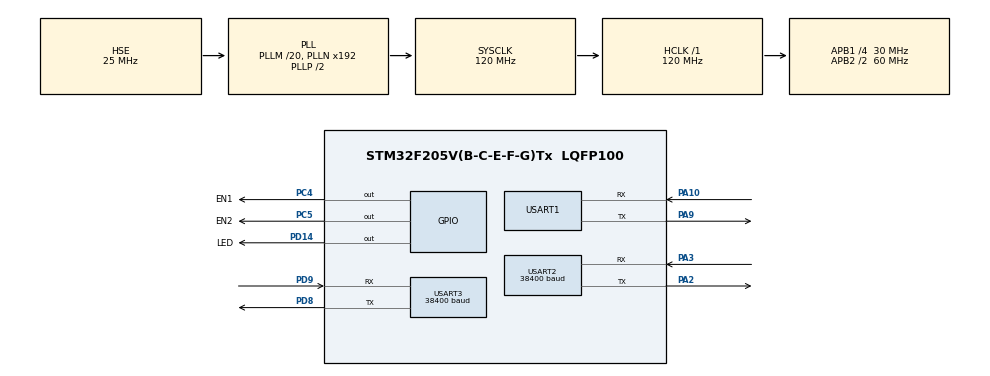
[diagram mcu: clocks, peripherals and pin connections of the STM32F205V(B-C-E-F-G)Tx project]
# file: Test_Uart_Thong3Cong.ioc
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Mcu.Family=STM32F2
Mcu.Name=STM32F205V(B-C-E-F-G)Tx
Mcu.Package=LQFP100
NVIC.PriorityGroup=NVIC_PRIORITYGROUP_4
NVIC.USART1_IRQn=true\:0\:0\:false\:false\:true\:true\:true\:true
NVIC.USART2_IRQn=true\:0\:0\:false\:false\:true\:true\:true\:true
NVIC.USART3_IRQn=true\:0\:0\:false\:false\:true\:true\:true\:true
PA10.Mode=Asynchronous
PA10.Signal=USART1_RX
PA13.Mode=Serial_Wire
PA13.Signal=SYS_JTMS-SWDIO
PA14.Mode=Serial_Wire
PA14.Signal=SYS_JTCK-SWCLK
PA2.Mode=Asynchronous
PA2.Signal=USART2_TX
PA3.Mode=Asynchronous
PA3.Signal=USART2_RX
PA9.Mode=Asynchronous
PA9.Signal=USART1_TX
PC4.GPIO_Label=EN1
PC4.GPIO_PuPd=GPIO_PULLDOWN
PC4.Signal=GPIO_Output
PC5.GPIO_Label=EN2
PC5.GPIO_PuPd=GPIO_PULLUP
PC5.Signal=GPIO_Output
PD14.GPIO_Label=LED
PD14.Signal=GPIO_Output
PD8.Mode=Asynchronous
PD8.Signal=USART3_TX
PD9.Mode=Asynchronous
PD9.Signal=USART3_RX
PH0-OSC_IN.Mode=HSE-External-Oscillator
PH0-OSC_IN.Signal=RCC_OSC_IN
PH1-OSC_OUT.Mode=HSE-External-Oscillator
PH1-OSC_OUT.Signal=RCC_OSC_OUT
ProjectManager.HeapSize=0x200
ProjectManager.StackSize=0x400
ProjectManager.TargetToolchain=STM32CubeIDE
RCC.48MHZClocksFreq_Value=60000000
RCC.AHBFreq_Value=120000000
RCC.APB1CLKDivider=RCC_HCLK_DIV4
RCC.APB1Freq_Value=30000000
RCC.APB1TimFreq_Value=60000000
RCC.APB2CLKDivider=RCC_HCLK_DIV2
RCC.APB2Freq_Value=60000000
RCC.APB2TimFreq_Value=120000000
RCC.CortexFreq_Value=120000000
RCC.HCLKFreq_Value=120000000
RCC.HSE_VALUE=25000000
RCC.HSI_VALUE=16000000
RCC.LSE_VALUE=32768
RCC.PLLM=20
RCC.PLLSourceVirtual=RCC_PLLSOURCE_HSE
RCC.SYSCLKFreq_VALUE=120000000
RCC.SYSCLKSource=RCC_SYSCLKSOURCE_PLLCLK
RCC.VCOOutputFreq_Value=240000000
USART1.VirtualMode=VM_ASYNC
USART2.BaudRate=38400
USART2.VirtualMode=VM_ASYNC
USART3.BaudRate=38400
USART3.VirtualMode=VM_ASYNC
board=custom

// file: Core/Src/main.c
/* USER CODE BEGIN Header */
/**
  ******************************************************************************
  * @file           : main.c
  * @brief          : Main program body
  ******************************************************************************
  * @attention
  *
  * Copyright (c) 2024 STMicroelectronics.
  * All rights reserved.
  *
  * This software is licensed under terms that can be found in the LICENSE file
  * in the root directory of this software component.
  * If no LICENSE file comes with this software, it is provided AS-IS.
  *
  ******************************************************************************
  */
/* USER CODE END Header */
#include "main.h"

/* USER CODE BEGIN Includes */
#include "stdio.h"
#include "string.h"
#include "stdbool.h"
#include "flash.h"
/* USER CODE END Includes */

/* USER CODE BEGIN PD */
#define FLASH_SECTOR_ADDRESS1 ADDR_FLASH_SECTOR_1	/* Base @ of Sector 0, 16 Kbytes */
#define FLASH_SECTOR_ADDRESS2 ADDR_FLASH_SECTOR_2	/* Base @ of Sector 1, 16 Kbytes */
#define FLASH_SECTOR_ADDRESS3 ADDR_FLASH_SECTOR_3	/* Base @ of Sector 2, 16 Kbytes */
#define FLASH_SECTOR_ADDRESS4 ADDR_FLASH_SECTOR_4	/* Base @ of Sector 3, 16 Kbytes */
#define FLASH_SECTOR_ADDRESS5 ADDR_FLASH_SECTOR_5	/* Base @ of Sector 4, 64 Kbytes */
#define FLASH_SECTOR_ADDRESS6 ADDR_FLASH_SECTOR_6	/* Base @ of Sector 5, 128 Kbytes */
#define FLASH_SECTOR_ADDRESS7 ADDR_FLASH_SECTOR_7	/* Base @ of Sector 6, 128 Kbytes */
#define FLASH_SECTOR_ADDRESS8 ADDR_FLASH_SECTOR_8	/* Base @ of Sector 7, 128 Kbytes */
#define FLASH_SECTOR_ADDRESS9 ADDR_FLASH_SECTOR_9	/* Base @ of Sector 8, 128 Kbytes */
#define FLASH_SECTOR_ADDRESS10 ADDR_FLASH_SECTOR_10	/* Base @ of Sector 9, 128 Kbytes */
#define FLASH_SECTOR_ADDRESS11 ADDR_FLASH_SECTOR_11	/* Base @ of Sector 10, 128 Kbytes */
#define FLASH_SECTOR_ADDRESS12 ADDR_FLASH_SECTOR_12	/* Base @ of Sector 11, 128 Kbytes */
/* USER CODE END PD */

UART_HandleTypeDef huart1;
UART_HandleTypeDef huart2;
UART_HandleTypeDef huart3;

void SystemClock_Config(void);
static void MX_GPIO_Init(void);
static void MX_USART1_UART_Init(void);
static void MX_USART2_UART_Init(void);
static void MX_USART3_UART_Init(void);
/* USER CODE BEGIN PFP */
void HAL_UARTEx_RxEventCallback(UART_HandleTypeDef *huart, uint16_t Size);
void HAL_UART_TxCpltCallback(UART_HandleTypeDef *huart);
void wait_res_init(uint32_t timeout_wait_);
void WriteBufferToFlash(uint8_t* buffer, uint32_t length);
void ReadAndPrintFlashData(uint32_t flash_address, uint32_t length);
void ReadAndPrintFirst4096Bytes(uint32_t flash_address);
void save_data_to_flash(uint8_t* data, uint32_t length);
void Write_Byte(uint8_t* buffer, uint32_t length);
void PrintTempBufferData();

#ifdef __GNUC__
#define PUTCHAR_PROTOTYPE int __io_putchar (int ch)
#else
#define PUTCHAR_PROTOTYPE int fputc (int ch, FILE *f)
#endif

PUTCHAR_PROTOTYPE
{
HAL_UART_Transmit(&huart1,(uint8_t *)&ch,1,0xFFFF);

return ch;
}
/* USER CODE END PFP */

/* USER CODE BEGIN 0 */
#define BUFFER_SIZE 4096
#define MAX_BUFFER_CMD_ESP 10000
#define WAIT_TIME_MS 20
#define RESET_TIME_MS 30000  // 30s
#define RX5_BUFF_SIZE   20

#define CHUNK_SIZE 4096
#define READ_CHUNK_SIZE 4096  // Kích thước khối đọc mỗi lần, 4096 byte

#define MAX_TEMP_BUFFER_SIZE 1024 * 50  // Kích thước buffer tạm thời lớn nhất, ví dụ cho 50 gói 4096 byte

#define BLOCK_SIZE 1024

uint8_t temp_buffer[MAX_TEMP_BUFFER_SIZE];
uint32_t temp_buffer_index = 0;
uint32_t last_flash_write_time = 0;
uint32_t flash_sector_address = FLASH_SECTOR_ADDRESS5;  // Địa chỉ sector flash để ghi

uint8_t USER_RX_Buffer[RX5_BUFF_SIZE];

uint8_t ui8_status_esp =0U;
uint32_t ui32_timerxset =0;

uint8_t uart2_data_ready = 0;
uint32_t uart2_start_time = 0;
uint8_t uart2_data[BUFFER_SIZE];
uint32_t last_packet_time = 0;
int packetCount = 0;  // Biến đếm gói toàn cục

uint8_t resetFlag = 0;  // Biến co để ghi nhớ việc reset

// Thêm biến toàn cục để lưu tổng số gói và tổng số byte đã nhận
uint32_t total_packets = 0;
uint32_t total_bytes = 0;

typedef struct{
	uint8_t ui8_RX_buf[2];
	uint8_t ui8_str[MAX_BUFFER_CMD_ESP];
	uint8_t ui8_busy;
	uint8_t ui8_newinchar;
	uint8_t ui8_RX;
	uint8_t ui8_indexUart;
	uint8_t ui8_newpagkage;
	uint8_t ui8_newcmd;
	uint32_t CountTX;
	uint8_t count;

	uint8_t ui8_rx2Data[BUFFER_SIZE];
	uint8_t ui8_rx3Data[BUFFER_SIZE];

	uint8_t ui8_tx2Data[BUFFER_SIZE];
	uint8_t ui8_tx3Data[BUFFER_SIZE];

	uint8_t ui8_indexUart2;
	uint8_t ui8_indexUart3;

	uint32_t ui32_timer;
	uint32_t ui32_startTick;
	uint32_t ui32_CountTX;

	int uart2_processingData;
	int uart3_processingData;
	int uart2_receivedData;
	int uart3_receivedData;

	uint16_t ui16_tx2Size;
	uint16_t ui16_tx3Size;

	uint16_t ui16_countIT2;
	uint16_t ui16_countIT3;

	uint16_t ui16_count2;
	uint16_t ui16_count3;

	uint16_t ui16_countTX2;
	uint16_t ui16_countTX3;

	uint16_t ui16_data2Size;
	uint16_t ui16_data3Size;

}xulyuart_typedef;

xulyuart_typedef xulyUart = {
		.CountTX = 0,
		.ui8_indexUart = 0,
		.ui32_timer = 0,

		.ui8_indexUart2 = 0,
		.ui8_indexUart3 = 0,

		.uart2_processingData = 0,
		.uart2_receivedData = 0,
		.uart3_processingData = 0,
		.uart3_receivedData = 0,

		.ui32_CountTX = 0,

		.ui16_countIT2 = 0,
		.ui16_countIT3 = 0,

		.ui16_count2 = 0,
		.ui16_count3 = 0,

		.ui16_countTX2 = 0,
		.ui16_countTX3 = 0,

		.ui16_data2Size = 0,
		.ui16_data3Size = 0
};

#if 1
//void ProcessUart2Data(uint8_t* data, uint16_t size) {
//    // Kiểm tra nếu kích thước là chính xác 4096 byte
//    if (size <= CHUNK_SIZE) {
//
//        // Nếu kích thước là 6 byte, reset packetCount và đặt c�? reset
//        if (size == 6) {
//            packetCount = -1;  // �?ặt packetCount là -1 để lần g�?i tiếp theo sẽ tăng lên 0
//            resetFlag = 1;
//            printf("Reset packet count due to size 6.\n");
//        } else {
//            // Nếu c�? reset được đặt, đặt packetCount là 0 và tắt c�? reset
//            if (resetFlag) {
//                packetCount = 0;
//                resetFlag = 0;
//            } else {
//                packetCount++;
//            }
//            printf("Packet %d = %d \n", packetCount, size);
//        }
//
//        last_packet_time = HAL_GetTick();  // Cập nhật th�?i gian nhận gói cuối cùng
//    }
//}

#if 0
void ProcessUart2Data(uint8_t* data, uint16_t size) {
    // Kiểm tra nếu kích thước là chính xác 4096 byte
    if (size <= CHUNK_SIZE) {
        // Nếu kích thước là 6 byte, reset packetCount và đặt cờ reset
        if (size == 6) {
            packetCount = 0;  // Đặt packetCount là 0 để bắt đầu lại từ gói 0
            resetFlag = 1;    // Đặt cờ để cho phép in các gói tiếp theo
        } else if (resetFlag) {
            // Nếu cờ reset được đặt, in ra gói và tăng packetCount
            printf("Packet %d = %d \n", packetCount, size);

            uint32_t time1;
            uint32_t time2;

            if (temp_buffer_index + size <= MAX_TEMP_BUFFER_SIZE) {
                memcpy(&temp_buffer[temp_buffer_index], data, size);
                int num_of_words = (size / 4) + ((size % 4) != 0);

                time1 = HAL_GetTick();
                Flash_Write_Data(flash_sector_address, (uint32_t *)temp_buffer, num_of_words);
                time2 = HAL_GetTick();

                time2 -= time1;
                printf("\n Write addr = %lu, size = %d, time = %lu\n", flash_sector_address , num_of_words, time2);

                temp_buffer_index += size;
                flash_sector_address += size;  // Cập nhật địa chỉ sector flash
            }

            packetCount++;
            total_packets++;
            total_bytes += size;

            // Reset chỉ số buffer tạm sau khi ghi
            if (packetCount % 1 == 0) {
                temp_buffer_index = 0;  // Reset chỉ số buffer tạm
            }
        }

        last_packet_time = HAL_GetTick();  // Cập nhật thời gian nhận gói cuối cùng
    }
}
#endif

void ProcessUart2Data(uint8_t* data, uint16_t size) {
	uint32_t time1;
	uint32_t time2;

	uint32_t timer1;
	uint32_t timer2;
	uint16_t lentosend;
	uint32_t totaltam =0;
	uint16_t len_tam;
	int num_of_words;
	int numofwords;

    // Kiểm tra nếu kích thước là chính xác 4096 byte hoặc nhỏ hơn
    if (size <= CHUNK_SIZE) {
        // Nếu kích thước là 6 byte, reset packetCount và đặt cờ reset
        if (size == 6) {
            packetCount = 0;  // Đặt packetCount là 0 để bắt đầu lại từ gói 0
            resetFlag = 1;    // Đặt cờ để cho phép nhận các gói tiếp theo
//            printf("Reset packet count due to size 6.\n");
        } else if (resetFlag) {
            // Nếu cờ reset được đặt, in ra gói và tăng packetCount
        	len_tam = size;
            printf("Packet %d = %d\n", packetCount, size);
//            if (temp_buffer_index + size <= MAX_TEMP_BUFFER_SIZE) {
//                memcpy(&temp_buffer[temp_buffer_index], data, size);
//                temp_buffer_index += size;
//            }

            memcpy(&temp_buffer[temp_buffer_index], data, size);
            temp_buffer_index = size;

            Handle_Uart();
//            Write_Byte(temp_buffer, temp_buffer_index);

#if 0
            uint16_t remaining = size;
            uint8_t* current_data_ptr = temp_buffer;

            while (remaining > 0)
            {
            	lentosend = (remaining >= BLOCK_SIZE) ? BLOCK_SIZE : remaining;
//            	totaltam += lentosend;
            	num_of_words = lentosend;

            	time1 = HAL_GetTick();
            	Flash_Write_byte(flash_sector_address, current_data_ptr, num_of_words);
            	time2 = HAL_GetTick();
            	time2 -= time1;
            	printf("\n Write addr = %lu, size = %d, time = %ld\n", flash_sector_address, num_of_words, time2);
            	flash_sector_address += lentosend;

            	remaining -= lentosend;
            	current_data_ptr += lentosend;
            }
#endif

//Flash_Write_byte
#if 0

//        	flash_sector_address = ADDR_FLASH_SECTOR_5;
//            int num_of_words = (size / 4) + ((size % 4) != 0);

            lentosend = size;
            totaltam += lentosend;
            num_of_words = lentosend;

            time1 = HAL_GetTick();
            Flash_Write_byte(flash_sector_address, (uint8_t *)temp_buffer, num_of_words);
            time2 = HAL_GetTick();
            time2 -= time1;
            printf("\n Write addr = %lu, size = %d, time = %ld\n", flash_sector_address , num_of_words, time2);
            flash_sector_address += lendtosend;

#endif

//Flash_Write_data
#if 0
        	lentosend =size;
        	totaltam+=lentosend;

        	numofwords = (lentosend/4)+((lentosend%4)!=0);
        	timer1 = HAL_GetTick();
        	Flash_Write_Data(flash_sector_address, (uint32_t *)temp_buffer, numofwords);
        	timer2 = HAL_GetTick();
        	timer2 -= timer1;
        	printf("\n Write addr = %lu, size = %d, time = %ld\n", flash_sector_address , numofwords, timer2);
        	flash_sector_address += size;
#endif

            packetCount++;

//            printf("\nDebug flash addr = %lu, size = %d \n", flash_sector_address, size);
            total_packets++;
            total_bytes += size;

//            if(packetCount % 1 == 0)
//            {
//            	temp_buffer_index = 0;  // Reset chỉ số buffer tạm
//            }

            // Reset chỉ số buffer tạm
            temp_buffer_index = 0;

            // Đánh dấu thời gian nhận gói cuối cùng
            last_packet_time = HAL_GetTick();
        }
    }
}

//test luu
//void ProcessUart2Data(uint8_t* data, uint16_t size) {
//    // Kiểm tra nếu kích thước là chính xác 4096 byte
//    if (size <= CHUNK_SIZE) {
//        // Nếu kích thước là 6 byte, reset packetCount và đặt c�? reset
//        if (size == 6) {
//            packetCount = 0;  // �?ặt packetCount là 0 để bắt đầu lại từ gói 0
//            resetFlag = 1;    // �?ặt c�? để cho phép in các gói tiếp theo
////            printf("Reset packet count due to size 6.\n");
//        } else if (resetFlag) {
//            // Nếu c�? reset được đặt, in ra gói và tăng packetCount
//            printf("Packet %d = %d \n", packetCount, size);
//            packetCount++;
//
//            total_packets++;
//            total_bytes += size;
//
//            // Kiểm tra nếu đã nhận đủ 10 gói, ghi buffer vào flash và reset buffer
//            if (packetCount == 1) {
//            	save_data_to_flash(data, size);
//            }
//
//        }
//
//        last_packet_time = HAL_GetTick();  // Cập nhật th�?i gian nhận gói cuối cùng
//    }
//}

#endif

#if 1
void PrintUart3Data(uint8_t* data, uint16_t size)
{
	for (int j = 0; j < size; j++)
	{
		switch (data[j])
		{
		case 0x3c:
			if (data[j+1] == 0x00 && data[j+2] == 0x00 && data[j+3] == 0x0f)
			{
				printf("(Read Data): Mo nap may\n");
			}
			else if(data[j+1] == 0x00 && data[j+2] == 0x03 && data[j+3] == 0x0f)
			{
				printf("(Read Data): Mo nap may (PAPER OUT)\n");
			}
			break;
		case 0x14:
			if (data[j+1] == 0x00 && data[j+2] == 0x00 && data[j+3] == 0x0f)
			{
				printf("(Read Data): Dong nap may\n");
			}
			else if (data[j+1] == 0x00 && data[j+2] == 0x03 && data[j+3] == 0x0f)
			{
				printf("(Read Data): Dong nap may (PAPER OUT)\n");
			}
			break;
		case 0x5c:
			if (data[j+1] == 0x00 && data[j+2] == 0x00 && data[j+3] == 0x0f)
			{
				printf("(Read Data): FEED\n");
			}
			else if (data[j+1] == 0x00 && data[j+2] == 0x03 && data[j+3] == 0x0f)
			{
				printf("(Read Data): FEED (PAPER OUT)\n");
			}
			break;
		case 0x1c:
			if (data[j+1] == 0x00 && data[j+2] == 0x00 && data[j+3] == 0x0f)
			{
				printf("(Read Data): Turn off machine\n");
			}
			else if (data[j+1] == 0x00 && data[j+2] == 0x03 && data[j+3] == 0x0f)
			{
				printf("(Read Data): Turn off machine (PAPER OUT)\n");
			}
			break;
		case 0x5f:
            if (data[j+1] == 0x54 && data[j+2] == 0x4d && data[j+3] == 0x2d && data[j+4] == 0x54 &&
                data[j+5] == 0x38 && data[j+6] == 0x38 && data[j+7] == 0x49 && data[j+8] == 0x49 &&
                data[j+9] == 0x49 && data[j+10] == 0x00)
            {
            	printf("(Read Data): _TM-T88III.\n");
            }
            break;
		default:
			break;
		}
	}
	printf("\n");
}
#endif

void wait_res_init(uint32_t timeout_wait_)
{
	ui32_timerxset = HAL_GetTick() + timeout_wait_;
	ui8_status_esp =1U;

}

void Handle_Uart()
{
	//test
	if(USER_RX_Buffer[0] == 't')
	{
		USER_RX_Buffer[0]=0;
		printf("Test \n");
		fflush(stdout); //  ?ảm bảo đầu ra ngay lập tức
	}

    else if (USER_RX_Buffer[0] == 'x')
    {
        USER_RX_Buffer[0] = 0;
        printf("Bat dau xoa flash\n");
        fflush(stdout); //  ?ảm bảo đầu ra ngay lập tức

        uint32_t start_tick = HAL_GetTick();

        // Xóa các sector của flash
        printf("Erasing sector 5\n");
        Flash_Erase_sector(FLASH_SECTOR_ADDRESS5);

        printf("Erasing sector 6\n");
        Flash_Erase_sector(FLASH_SECTOR_ADDRESS6);

        printf("Erasing sector 7\n");
        Flash_Erase_sector(FLASH_SECTOR_ADDRESS7);

        //neu xoa 3 vung nay se bi dung chuong trình
#if 1
        printf("Erasing sector 8\n");
        Flash_Erase_sector(FLASH_SECTOR_ADDRESS8);

        printf("Erasing sector 9\n");
        Flash_Erase_sector(FLASH_SECTOR_ADDRESS9);

        printf("Erasing sector 10\n");
        Flash_Erase_sector(FLASH_SECTOR_ADDRESS10);

        printf("Erasing sector 11\n");
        Flash_Erase_sector(FLASH_SECTOR_ADDRESS11);
#endif
        uint32_t end_tick = HAL_GetTick();
        printf("Da xoa flash trong %lu ms\r\n", end_tick - start_tick);
        fflush(stdout); //  ?ảm bảo đầu ra ngay lập tức
    }

    else if (USER_RX_Buffer[0] == 'r') // Thêm điều kiện để đọc dữ liệu từ flash
    {
        USER_RX_Buffer[0] = 0;
        printf("Bat dau doc flash\n");
        fflush(stdout); // Đảm bảo đầu ra ngay lập tức

        // Đọc và in ra 4096 byte đầu tiên từ flash
        ReadAndPrintFirst4096Bytes(FLASH_SECTOR_ADDRESS5);
        printf("Da doc flash xong. \n");
    }

    // Kiểm tra nếu ký tự nhận được là 'c'
    else if (USER_RX_Buffer[0] == 'c')
    {
        USER_RX_Buffer[0] = 0;
        printf("Bat dau doc temp_buffer\n");
        fflush(stdout); // Đảm bảo đầu ra ngay lập tức

        // In ra dữ liệu từ temp_buffer
//        ReadAndPrintFirst4096Bytes(FLASH_SECTOR_ADDRESS5);
//        PrintTempBufferData();
    }

    else if (USER_RX_Buffer[0] == 'l')
    {
        USER_RX_Buffer[0] = 0;
        printf("Bat dau doc temp_buffer\n");
        fflush(stdout); // Đảm bảo đầu ra ngay lập tức

        // In ra dữ liệu từ temp_buffer
        test_write_byte();
    }
}

void xuly_command_ESP()
{
	USER_RX_Buffer[0] = xulyUart.ui8_newinchar;
	Handle_Uart();
}

void PrintTempBufferData()
{
    printf("Data in temp_buffer:\n");
    for (uint32_t i = 0; i < 3871; i++) {
        printf("%02x ", temp_buffer[i]);
        if ((i + 1) % 16 == 0) {
            printf("\n");
        }
    }
    printf("\n");
}

void WriteBufferToFlash(uint8_t* buffer, uint32_t length)
{
	uint32_t time1;
	uint32_t time2;
    int num_of_words = (length / 4) + ((length % 4) != 0);
    time1 = HAL_GetTick();
    Flash_Write_Data(flash_sector_address, (uint32_t *)buffer, num_of_words);
    time2 = HAL_GetTick();
    time2 -= time1;
    printf("\n Write addr = %lu, size = %d, time = %lu\n", flash_sector_address , num_of_words, time2);
    flash_sector_address += length;  // Cập nhật địa chỉ sector flash
}

void Write_Byte(uint8_t* buffer, uint32_t length)
{
	uint32_t time1;
	uint32_t time2;

	uint16_t lentosend;
	int num_of_words;

    uint16_t remaining = length;
    uint8_t* current_data_ptr = buffer;

    while (remaining > 0)
    {
    	lentosend = (remaining >= BLOCK_SIZE) ? BLOCK_SIZE : remaining;
//            	totaltam += lentosend;
    	num_of_words = lentosend;

    	time1 = HAL_GetTick();
    	Flash_Write_byte(flash_sector_address, current_data_ptr, num_of_words);
    	time2 = HAL_GetTick();
    	time2 -= time1;
    	printf("\n Write addr = %lu, size = %d, time = %ld\n", flash_sector_address, num_of_words, time2);
    	flash_sector_address += lentosend;

    	remaining -= lentosend;
    	current_data_ptr += lentosend;
    }
}

//void ReadAndPrintFirst4096Bytes(uint32_t flash_address) {
//    uint32_t num_of_words = (4096 / 4) + ((4096 % 4) != 0);
//    uint32_t Rx_Data[num_of_words];
//    uint8_t u[4];
//    int byte_count = 0;
//
//    // Đọc 4096 byte đầu tiên từ flash
//    Flash_Read_Data(flash_address, Rx_Data, num_of_words);
//
//    // In ra dữ liệu đã đọc
//    printf("First 4096 bytes from flash:\n");
//    for (int i = 0; i < num_of_words; i++) {
//        byte_count += 4; // Mỗi lần in ra 4 byte
//
//        convertdata(Rx_Data[i], u);
//        printf("%02x %02x %02x %02x ", u[0], u[1], u[2], u[3]);
//
//        if (byte_count >= 20) {
//            printf("\n"); // Xuống hàng sau mỗi 20 byte
//            byte_count = 0; // Đặt lại biến đếm
//        }
//    }
//    printf("\n"); // Xuống hàng sau khi in hết dữ liệu
//}

void ReadAndPrintFirst4096Bytes(uint32_t flash_address) {
    uint32_t size = 512; // Kích thước dữ liệu cần đọc
    uint32_t Rx_Data[size];
    uint8_t u[4];
    int byte_count = 0;

    // Đọc 4096 byte đầu tiên từ flash
    Flash_Read_Data(flash_address, Rx_Data, size);

    // In ra dữ liệu đã đọc
    printf("First 512 bytes from flash:\n");
    for (int i = 0; i < 512; i++) {
        byte_count += 4; // Mỗi lần in ra 4 byte

        convertdata(Rx_Data[i], u);
        printf("%02x %02x %02x %02x ", u[0], u[1], u[2], u[3]);

        if (byte_count >= 20) {
            printf("\n"); // Xuống hàng sau mỗi 20 byte
            byte_count = 0; // Đặt lại biến đếm
        }
    }
    printf("\n"); // Xuống hàng sau khi in hết dữ liệu
}

void save_data_to_flash(uint8_t* data, uint32_t length)
{
	int byte_count = 0;
    uint32_t Rx_Data[BUFFER_SIZE];
    uint8_t u[4];
    printf("Bat dau luu data vao flash\r\n");

    // Erase flash sector
    printf("Dang xoa sector flash\r\n");
    Flash_Erase_sector(FLASH_SECTOR_ADDRESS5);

    uint32_t num_of_words = (length / 4) + ((length % 4) != 0);

    printf("Dang ghi data vao flash\r\n");
    uint32_t start_tick = HAL_GetTick();
    Flash_Write_Data(FLASH_SECTOR_ADDRESS5, (uint32_t *)data, num_of_words);
    uint32_t end_tick = HAL_GetTick();
    printf("Ghi hoan tat trong %lu ms\r\n", end_tick - start_tick);

    Flash_Read_Data(FLASH_SECTOR_ADDRESS5, Rx_Data, num_of_words);

    printf("Data doc tu flash:\r\n");
    for (int i = 0; i < num_of_words; i++) {

    	byte_count += 4; // Mỗi lần in ra 4 byte

        convertdata(Rx_Data[i], u);
        printf("%02x %02x %02x %02x ", u[0], u[1], u[2], u[3]);

        if (byte_count > 20) {
            printf("\n"); // Xuống hàng
            byte_count = 0; // �?ặt lại biến đếm
        }
    }
    printf("\n");
}

void test_write_byte()
{
	printf("Test read/write flash");
	uint16_t lentosend;
	uint8_t datatest[4096];
	uint8_t tam =0;
	 uint32_t tt;
	 uint32_t tt2;

	 uint32_t totaltam =0;
	int numofwords;
	uint32_t u32_addr_data_user =0U;

#if (0)

	  Flash_Write_Data(0x08020000 , (uint32_t *)data2, 9);

	  Flash_Read_Data(0x08020000 , Rx_Data, 10);

	  USBD_UsrLog("Rx_Data 1 = ");
		for(int i =0; i< 9; i++)
		{

			USBD_CongLog("%02x ",Rx_Data[i]);

		}
		USBD_CongLog("\n");
#endif

#if (0)
	  numofwords = (strlen(data)/4)+((strlen(data)%4)!=0);

	  tt = HAL_GetTick();

	  Flash_Write_Data(0x08021000 , (uint32_t *)data, numofwords);

		tt2 = HAL_GetTick();
		tt2 -= tt;
		USBD_CongLog(" Time = %d \n",tt2);

	  Flash_Read_Data(0x08021000 , Rx_Data, numofwords);
//	  Convert_To_Str(Rx_Data, string);
	  USBD_UsrLog("Rx_Data 2 = ");
		for(int i =0; i< numofwords; i++)
		{

			USBD_CongLog("%02x ",Rx_Data[i]);

		}
		USBD_CongLog("\n");
#endif

		/*Khởi tạo giá trị test*/
		tam = 0;
		for(int j =0; j < 4096; j++)
		{
			datatest[j] = tam;

				tam++;
				if (tam > 0xff) tam = 0;
		}

		/*xóa vùng nhớ*/
		Flash_Erase_sector(FLASH_SECTOR_ADDRESS5);

		u32_addr_data_user =FLASH_SECTOR_ADDRESS5;

#if (1)
		lentosend =0x40U;
		totaltam+=lentosend;

		numofwords = lentosend;
		tt = HAL_GetTick();
		Flash_Write_byte(u32_addr_data_user, (uint8_t *)datatest, numofwords);
		tt2 = HAL_GetTick();
		tt2 -= tt;
		printf("\n Write index =%d, addr = %x, size = %d, time = %d\n",0U, u32_addr_data_user , numofwords, tt2);
		u32_addr_data_user +=lentosend;

		//chiều dài là số lẻ 4 thì bị sai?????????????????
		lentosend =0x15U;
//		lentosend =0x18U;

		totaltam+=lentosend;

		numofwords = lentosend;
		tt = HAL_GetTick();
		Flash_Write_byte(u32_addr_data_user, (uint8_t *)datatest, numofwords);
		tt2 = HAL_GetTick();
		tt2 -= tt;
		printf("\n Write index =%d, addr = %x, size = %d, time = %d\n",1U, u32_addr_data_user , numofwords, tt2);
		u32_addr_data_user +=lentosend;
#endif

		printf("--------------End Test write file------------------------------\n");

}

/* USER CODE END 0 */

int main(void)
{

  /* MCU Configuration--------------------------------------------------------*/

  /* Reset of all peripherals, Initializes the Flash interface and the Systick. */
  HAL_Init();

  /* Configure the system clock */
  SystemClock_Config();

  /* Initialize all configured peripherals */
  MX_GPIO_Init();
  MX_USART1_UART_Init();
  MX_USART2_UART_Init();
  MX_USART3_UART_Init();
  /* USER CODE BEGIN 2 */
  HAL_GPIO_WritePin(GPIOC, EN1_Pin, 1);
  HAL_GPIO_WritePin(GPIOC, EN2_Pin, 0);

  xulyUart.CountTX = 0;
  xulyUart.ui8_indexUart = 0;

  HAL_UART_Receive_IT(&huart1, xulyUart.ui8_RX_buf, 1);
  HAL_UARTEx_ReceiveToIdle_IT(&huart2, xulyUart.ui8_rx2Data, BUFFER_SIZE);
  HAL_UARTEx_ReceiveToIdle_IT(&huart3, xulyUart.ui8_rx3Data, BUFFER_SIZE);

//  uint32_t flash_write_start_time = 0;

  /* USER CODE END 2 */

  /* Infinite loop */
  while (1)
  {

    /* USER CODE BEGIN 3 */
      if (xulyUart.ui32_timer < HAL_GetTick()) {
          xulyUart.ui32_timer = HAL_GetTick() + 1000;
          HAL_GPIO_TogglePin(GPIOD, LED_Pin);
      }

      if (uart2_data_ready && (HAL_GetTick() - uart2_start_time >= WAIT_TIME_MS)) {
          ProcessUart2Data(xulyUart.ui8_rx2Data, xulyUart.ui16_tx3Size);
          uart2_data_ready = 0;
          // Đặt thời gian bắt đầu ghi flash
//          flash_write_start_time = HAL_GetTick();
      }

//      // Thực hiện ghi flash nếu có dữ liệu trong bộ đệm tạm và đã qua khoảng 70ms nhưng không quá 30ms cho việc ghi
//      if (flash_write_start_time > 0 && HAL_GetTick() - flash_write_start_time >= (WAIT_TIME_MS - 50)) {  // 70ms - 50ms = 20ms
//          if (temp_buffer_index > 0) {
//              int num_of_words = (temp_buffer_index / 4) + ((temp_buffer_index % 4) != 0);
//
//              uint32_t time1 = HAL_GetTick();
//              Flash_Write_Data(flash_sector_address, (uint32_t *)temp_buffer, num_of_words);
//              uint32_t time2 = HAL_GetTick();
//
//              printf("\nWrite addr = %lu, size = %d, time = %lu\n", flash_sector_address - temp_buffer_index, num_of_words, time2 - time1);
//
//              flash_sector_address += temp_buffer_index;  // Cập nhật địa chỉ sector flash
//              temp_buffer_index = 0;  // Reset chỉ số buffer tạm
//              flash_write_start_time = 0;  // Reset thời gian bắt đầu ghi flash
//          }
//      }

      // Kiểm tra nếu đã quá th�?i gian RESET_TIME_MS mà không nhận được gói dữ liệu nào
//      if (HAL_GetTick() - last_packet_time >= RESET_TIME_MS) {
//    	  packetCount = 0;  // Reset bộ đếm gói
//          printf("Packet count reset due to inactivity.\n");
//          last_packet_time = HAL_GetTick();  // Cập nhật lại th�?i gian nhận gói cuối cùng
//      }

      // Kiểm tra nếu đã quá thời gian RESET_TIME_MS mà không nhận được gói dữ liệu nào
      if (HAL_GetTick() - last_packet_time >= RESET_TIME_MS) {
//          printf("Packet count reset due to inactivity.\n");

          packetCount = 0;  // Reset bộ đếm gói
          resetFlag = 1; // Đặt lại cờ để nhận gói mới
          last_packet_time = HAL_GetTick();  // Cập nhật lại thời gian nhận gói cuối cùng
      }

	  if(xulyUart.uart3_receivedData == 1 && xulyUart.uart2_processingData == 0)
	  {
		  HAL_UART_Transmit_IT(&huart2, xulyUart.ui8_tx2Data, xulyUart.ui16_tx2Size);
//		  ProcessUart2Data(xulyUart.ui8_tx2Data, xulyUart.ui16_tx2Size);
		  xulyUart.uart2_processingData = 1;
		  xulyUart.uart3_receivedData = 0;
	  }
	  //nhan data tu uart 2 gui cho uart3
	  if(xulyUart.uart2_receivedData == 1 && xulyUart.uart3_processingData == 0)
	  {
		  HAL_UART_Transmit_IT(&huart3, xulyUart.ui8_tx3Data, xulyUart.ui16_tx3Size);
		  xulyUart.uart3_processingData = 1;
		  xulyUart.uart2_receivedData = 0;
	  }

#if 1
	  if(xulyUart.CountTX < xulyUart.ui8_indexUart)
	  {
		  if(xulyUart.ui8_busy == 0)
		  {
			  int vitridoctin = xulyUart.CountTX % 1000;
			  uint8_t inchar = xulyUart.ui8_str[vitridoctin];
			  xulyUart.CountTX++;
			  xulyUart.count++;
			  xulyUart.ui8_busy = 1;
//			  HAL_UART_Transmit_IT(&huart2, &inchar, 1);
		  }
	  }

	  if(xulyUart.ui8_newpagkage == 1)
	  {
//		  HAL_UART_Transmit(&huart2, (uint8_t *) xulyUart.ui8_str,xulyUart.ui8_indexUart, 100);
		  xulyUart.ui8_newpagkage = 0;
		  xuly_command_ESP();
	  }
#endif
  }
  /* USER CODE END 3 */
}

void SystemClock_Config(void)
{
  RCC_OscInitTypeDef RCC_OscInitStruct = {0};
  RCC_ClkInitTypeDef RCC_ClkInitStruct = {0};

  /** Initializes the RCC Oscillators according to the specified parameters
  * in the RCC_OscInitTypeDef structure.
  */
  RCC_OscInitStruct.OscillatorType = RCC_OSCILLATORTYPE_HSE;
  RCC_OscInitStruct.HSEState = RCC_HSE_ON;
  RCC_OscInitStruct.PLL.PLLState = RCC_PLL_ON;
  RCC_OscInitStruct.PLL.PLLSource = RCC_PLLSOURCE_HSE;
  RCC_OscInitStruct.PLL.PLLM = 20;
  RCC_OscInitStruct.PLL.PLLN = 192;
  RCC_OscInitStruct.PLL.PLLP = RCC_PLLP_DIV2;
  RCC_OscInitStruct.PLL.PLLQ = 4;
  if (HAL_RCC_OscConfig(&RCC_OscInitStruct) != HAL_OK)
  {
    Error_Handler();
  }

  /** Initializes the CPU, AHB and APB buses clocks
  */
  RCC_ClkInitStruct.ClockType = RCC_CLOCKTYPE_HCLK|RCC_CLOCKTYPE_SYSCLK
                              |RCC_CLOCKTYPE_PCLK1|RCC_CLOCKTYPE_PCLK2;
  RCC_ClkInitStruct.SYSCLKSource = RCC_SYSCLKSOURCE_PLLCLK;
  RCC_ClkInitStruct.AHBCLKDivider = RCC_SYSCLK_DIV1;
  RCC_ClkInitStruct.APB1CLKDivider = RCC_HCLK_DIV4;
  RCC_ClkInitStruct.APB2CLKDivider = RCC_HCLK_DIV2;

  if (HAL_RCC_ClockConfig(&RCC_ClkInitStruct, FLASH_LATENCY_3) != HAL_OK)
  {
    Error_Handler();
  }
}

static void MX_USART1_UART_Init(void)
{

  huart1.Instance = USART1;
  huart1.Init.BaudRate = 115200;
  huart1.Init.WordLength = UART_WORDLENGTH_8B;
  huart1.Init.StopBits = UART_STOPBITS_1;
  huart1.Init.Parity = UART_PARITY_NONE;
  huart1.Init.Mode = UART_MODE_TX_RX;
  huart1.Init.HwFlowCtl = UART_HWCONTROL_NONE;
  huart1.Init.OverSampling = UART_OVERSAMPLING_16;
  if (HAL_UART_Init(&huart1) != HAL_OK)
  {
    Error_Handler();
  }

}

static void MX_USART2_UART_Init(void)
{

  huart2.Instance = USART2;
  huart2.Init.BaudRate = 38400;
  huart2.Init.WordLength = UART_WORDLENGTH_8B;
  huart2.Init.StopBits = UART_STOPBITS_1;
  huart2.Init.Parity = UART_PARITY_NONE;
  huart2.Init.Mode = UART_MODE_TX_RX;
  huart2.Init.HwFlowCtl = UART_HWCONTROL_NONE;
  huart2.Init.OverSampling = UART_OVERSAMPLING_16;
  if (HAL_UART_Init(&huart2) != HAL_OK)
  {
    Error_Handler();
  }

}

static void MX_USART3_UART_Init(void)
{

  huart3.Instance = USART3;
  huart3.Init.BaudRate = 38400;
  huart3.Init.WordLength = UART_WORDLENGTH_8B;
  huart3.Init.StopBits = UART_STOPBITS_1;
  huart3.Init.Parity = UART_PARITY_NONE;
  huart3.Init.Mode = UART_MODE_TX_RX;
  huart3.Init.HwFlowCtl = UART_HWCONTROL_NONE;
  huart3.Init.OverSampling = UART_OVERSAMPLING_16;
  if (HAL_UART_Init(&huart3) != HAL_OK)
  {
    Error_Handler();
  }

}

static void MX_GPIO_Init(void)
{
  GPIO_InitTypeDef GPIO_InitStruct = {0};

  /* GPIO Ports Clock Enable */
  __HAL_RCC_GPIOH_CLK_ENABLE();
  __HAL_RCC_GPIOA_CLK_ENABLE();
  __HAL_RCC_GPIOC_CLK_ENABLE();
  __HAL_RCC_GPIOD_CLK_ENABLE();

  /*Configure GPIO pin Output Level */
  HAL_GPIO_WritePin(GPIOC, EN1_Pin|EN2_Pin, GPIO_PIN_RESET);

  /*Configure GPIO pin Output Level */
  HAL_GPIO_WritePin(LED_GPIO_Port, LED_Pin, GPIO_PIN_RESET);

  /*Configure GPIO pin : EN1_Pin */
  GPIO_InitStruct.Pin = EN1_Pin;
  GPIO_InitStruct.Mode = GPIO_MODE_OUTPUT_PP;
  GPIO_InitStruct.Pull = GPIO_PULLDOWN;
  GPIO_InitStruct.Speed = GPIO_SPEED_FREQ_LOW;
  HAL_GPIO_Init(EN1_GPIO_Port, &GPIO_InitStruct);

  /*Configure GPIO pin : EN2_Pin */
  GPIO_InitStruct.Pin = EN2_Pin;
  GPIO_InitStruct.Mode = GPIO_MODE_OUTPUT_PP;
  GPIO_InitStruct.Pull = GPIO_PULLUP;
  GPIO_InitStruct.Speed = GPIO_SPEED_FREQ_LOW;
  HAL_GPIO_Init(EN2_GPIO_Port, &GPIO_InitStruct);

  /*Configure GPIO pin : LED_Pin */
  GPIO_InitStruct.Pin = LED_Pin;
  GPIO_InitStruct.Mode = GPIO_MODE_OUTPUT_PP;
  GPIO_InitStruct.Pull = GPIO_NOPULL;
  GPIO_InitStruct.Speed = GPIO_SPEED_FREQ_LOW;
  HAL_GPIO_Init(LED_GPIO_Port, &GPIO_InitStruct);

}

/* USER CODE BEGIN 4 */
void HAL_UART_RxCpltCallback(UART_HandleTypeDef *huart)
{
	if (huart->Instance == USART1)
	{
		// Xu ly uart theo packet
		uint8_t inchar = xulyUart.ui8_RX_buf[0];
		int vitridoctin = xulyUart.ui8_indexUart % 1000;
		xulyUart.ui8_str[vitridoctin] = inchar;
		xulyUart.ui8_newinchar = inchar;
		xulyUart.ui8_indexUart++;
		xulyUart.ui8_newpagkage = 1;
		HAL_UART_Receive_IT(&huart1, xulyUart.ui8_RX_buf, 1);
	}
}

void HAL_UARTEx_RxEventCallback(UART_HandleTypeDef *huart, uint16_t Size)
{
	if (huart->Instance == USART2)
	{
		xulyUart.ui16_countIT2++;
		xulyUart.ui16_data2Size += Size;

		xulyUart.ui16_tx3Size = Size;

		if(xulyUart.ui16_tx3Size < 1024)
		{
			xulyUart.ui16_countIT2++;
		}

		memcpy(xulyUart.ui8_tx3Data, xulyUart.ui8_rx2Data, xulyUart.ui16_tx3Size);

		uart2_data_ready = 1;
		xulyUart.uart2_receivedData = 1;

		xulyUart.ui32_timer = HAL_GetTick();
		HAL_UARTEx_ReceiveToIdle_IT(&huart2, xulyUart.ui8_rx2Data, BUFFER_SIZE);
//		ProcessUart2Data(xulyUart.ui8_tx3Data, xulyUart.ui16_tx3Size);
	}
	if (huart->Instance == USART3)
	{
//		xulyUart.ui16_countIT3++;
		xulyUart.ui16_data3Size += Size;

		xulyUart.ui16_tx2Size = Size;

		if(xulyUart.ui16_tx2Size < 1024)
		{
			xulyUart.ui16_countIT3++;
		}

		memcpy(xulyUart.ui8_tx2Data, xulyUart.ui8_rx3Data, xulyUart.ui16_tx2Size);
		xulyUart.uart3_receivedData = 1;
//		xulyUart.ui8_indexUart3 = 1;
		HAL_UARTEx_ReceiveToIdle_IT(&huart3, xulyUart.ui8_rx3Data, BUFFER_SIZE);
		PrintUart3Data(xulyUart.ui8_rx3Data, xulyUart.ui16_tx2Size);
	}
}

void HAL_UART_TxCpltCallback(UART_HandleTypeDef *huart)
{
	if (huart->Instance == USART1)
	{
		xulyUart.ui8_busy = 0;
	}
	if (huart->Instance == USART2)
	{
		xulyUart.ui16_countTX2++;
		xulyUart.uart2_processingData = 0;
	}
	if (huart->Instance == USART3)
	{
		xulyUart.ui16_countTX3++;
		xulyUart.uart3_processingData = 0;
	}
}
/* USER CODE END 4 */

void Error_Handler(void)
{
  __disable_irq();
  while (1)
  {
  }
}
